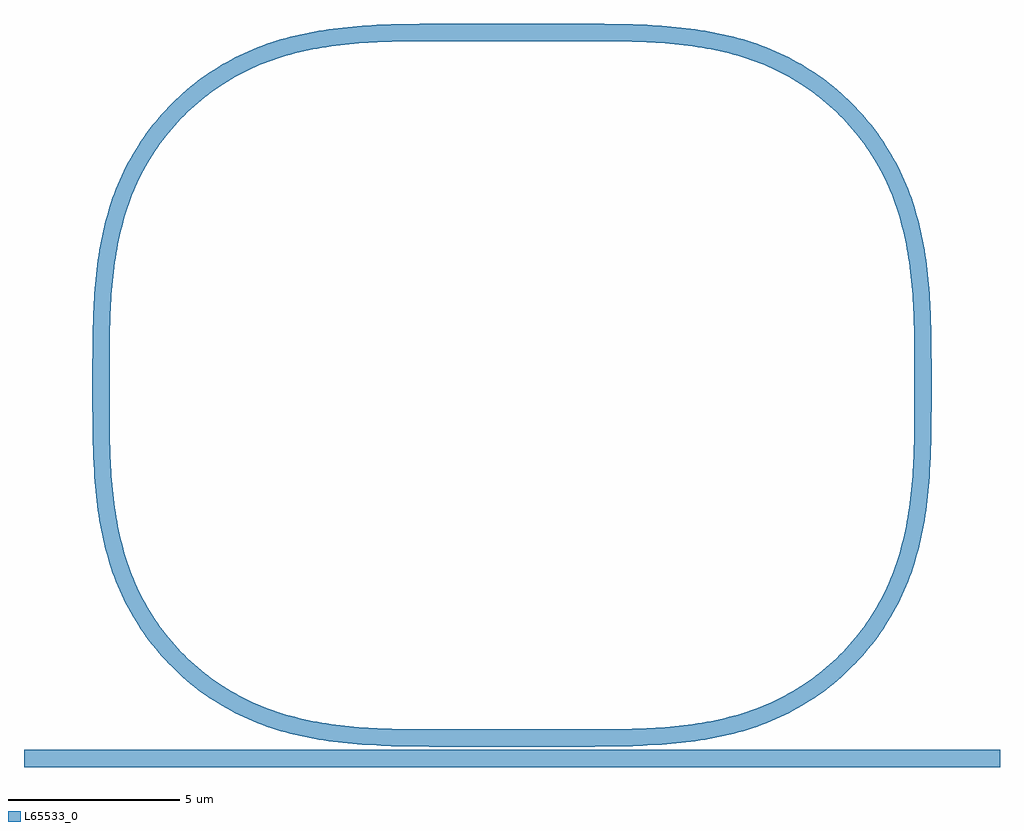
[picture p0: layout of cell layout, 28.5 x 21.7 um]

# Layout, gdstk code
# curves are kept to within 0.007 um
import gdstk
lib = gdstk.Library(unit=1e-6, precision=1e-09)
def R(c, l, rs):  # rectangles x0, y0, x1, y1
    for r in rs: c.add(gdstk.rectangle(r[:2], r[2:], *l))
def P(c, l, *ps):  # polygons
    for p in ps: c.add(gdstk.Polygon(p, *l))
L65533_0 = (65533, 0)

layout = lib.new_cell('layout')
R(layout, L65533_0, [(-16.25,-0.25,-14,0.25), (-14,-0.25,10,0.25), (10,-0.25,12.25,0.25), (-14.25,10.6,-13.75,11.2), (9.75,10.6,10.25,11.2), (-4,20.95,0,21.45)])
P(layout, L65533_0, [(-4.416,0.35),(-5.812,0.375),(-6.373,0.406),(-6.935,0.456),(-7.356,0.509),(-7.915,0.603),(-8.332,0.693),(-8.883,0.844),(-9.423,1.033),(-9.819,1.202),(-10.205,1.394),(-10.579,1.608),(-11.056,1.927),(-11.397,2.19),(-11.721,2.473),(-12.029,2.774),(-12.318,3.093),(-12.588,3.429),(-12.916,3.9),(-13.137,4.269),(-13.337,4.651),(-13.567,5.177),(-13.712,5.581),(-13.836,5.991),(-13.939,6.406),(-14.048,6.964),(-14.128,7.525),(-14.171,7.946),(-14.219,8.647),(-14.235,9.068),(-14.25,10.6),(-13.75,10.6),(-13.748,9.77),(-13.731,8.945),(-13.695,8.262),(-13.647,7.719),(-13.576,7.18),(-13.48,6.648),(-13.353,6.123),(-13.194,5.61),(-13.051,5.235),(-12.887,4.869),(-12.701,4.513),(-12.495,4.169),(-12.269,3.838),(-12.024,3.521),(-11.85,3.317),(-11.575,3.025),(-11.182,2.662),(-10.869,2.411),(-10.543,2.178),(-10.203,1.965),(-9.851,1.773),(-9.488,1.601),(-9.116,1.451),(-8.735,1.322),(-8.346,1.212),(-7.952,1.12),(-7.42,1.024),(-6.881,0.953),(-6.338,0.905),(-5.655,0.869),(-4.415,0.85),(1.243,0.858),(2.202,0.896),(3.016,0.969),(3.553,1.046),(4.084,1.149),(4.606,1.283),(4.99,1.406),(5.365,1.549),(5.731,1.713),(6.203,1.965),(6.543,2.178),(6.869,2.411),(7.283,2.75),(7.575,3.025),(7.938,3.418),(8.269,3.838),(8.495,4.169),(8.765,4.631),(8.999,5.112),(9.194,5.61),(9.353,6.123),(9.48,6.648),(9.596,7.315),(9.661,7.854),(9.719,8.672),(9.742,9.357),(9.75,10.6),(10.25,10.6),(10.248,9.766),(10.225,8.788),(10.194,8.227),(10.128,7.525),(10.048,6.964),(9.939,6.406),(9.797,5.854),(9.618,5.311),(9.398,4.781),(9.137,4.269),(8.837,3.78),(8.5,3.315),(8.224,2.985),(7.826,2.571),(7.397,2.19),(6.939,1.844),(6.579,1.608),(6.078,1.327),(5.688,1.143),(5.289,0.982),(4.883,0.844),(4.332,0.693),(3.776,0.577),(3.216,0.49),(2.373,0.406),(1.253,0.358)],
  [(-14.25,11.2),(-14.235,12.732),(-14.203,13.433),(-14.158,13.995),(-14.091,14.556),(-14.023,14.976),(-13.907,15.532),(-13.797,15.946),(-13.618,16.489),(-13.457,16.888),(-13.273,17.278),(-13.066,17.655),(-12.756,18.139),(-12.5,18.485),(-12.224,18.815),(-11.928,19.128),(-11.615,19.424),(-11.285,19.7),(-10.939,19.956),(-10.455,20.266),(-10.078,20.473),(-9.688,20.657),(-9.289,20.818),(-8.746,20.997),(-8.332,21.107),(-7.776,21.223),(-7.356,21.291),(-6.795,21.358),(-6.233,21.403),(-5.532,21.435),(-4,21.45),(-4,20.95),(-4.83,20.948),(-5.655,20.931),(-6.338,20.895),(-6.881,20.847),(-7.42,20.776),(-7.952,20.68),(-8.477,20.553),(-8.99,20.394),(-9.365,20.251),(-9.731,20.087),(-10.087,19.901),(-10.431,19.695),(-10.762,19.469),(-11.079,19.224),(-11.283,19.05),(-11.575,18.775),(-11.85,18.483),(-12.024,18.279),(-12.269,17.962),(-12.495,17.631),(-12.701,17.287),(-12.887,16.931),(-13.051,16.565),(-13.194,16.19),(-13.353,15.677),(-13.48,15.152),(-13.576,14.62),(-13.647,14.081),(-13.695,13.538),(-13.731,12.855),(-13.748,12.03),(-13.75,11.2)],
  [(9.75,11.2),(9.748,12.03),(9.731,12.855),(9.704,13.402),(9.661,13.946),(9.596,14.485),(9.531,14.887),(9.451,15.284),(9.353,15.677),(9.194,16.19),(9.051,16.565),(8.887,16.931),(8.701,17.287),(8.495,17.631),(8.269,17.962),(7.938,18.382),(7.668,18.679),(7.382,18.96),(7.182,19.138),(6.869,19.389),(6.543,19.622),(6.203,19.835),(5.851,20.027),(5.488,20.199),(5.116,20.349),(4.606,20.517),(4.084,20.651),(3.42,20.776),(2.881,20.847),(2.338,20.895),(1.655,20.931),(0.83,20.948),(0,20.95),(0,21.45),(0.834,21.448),(1.812,21.425),(2.373,21.394),(2.935,21.344),(3.356,21.291),(3.915,21.197),(4.332,21.107),(4.883,20.956),(5.423,20.767),(5.819,20.598),(6.205,20.406),(6.579,20.192),(7.056,19.873),(7.397,19.61),(7.721,19.327),(8.029,19.026),(8.318,18.707),(8.673,18.256),(8.992,17.779),(9.273,17.278),(9.457,16.888),(9.666,16.355),(9.836,15.809),(9.939,15.394),(10.023,14.976),(10.091,14.556),(10.144,14.135),(10.194,13.573),(10.239,12.592),(10.25,11.2)])

lib.write_gds('layout.gds')
